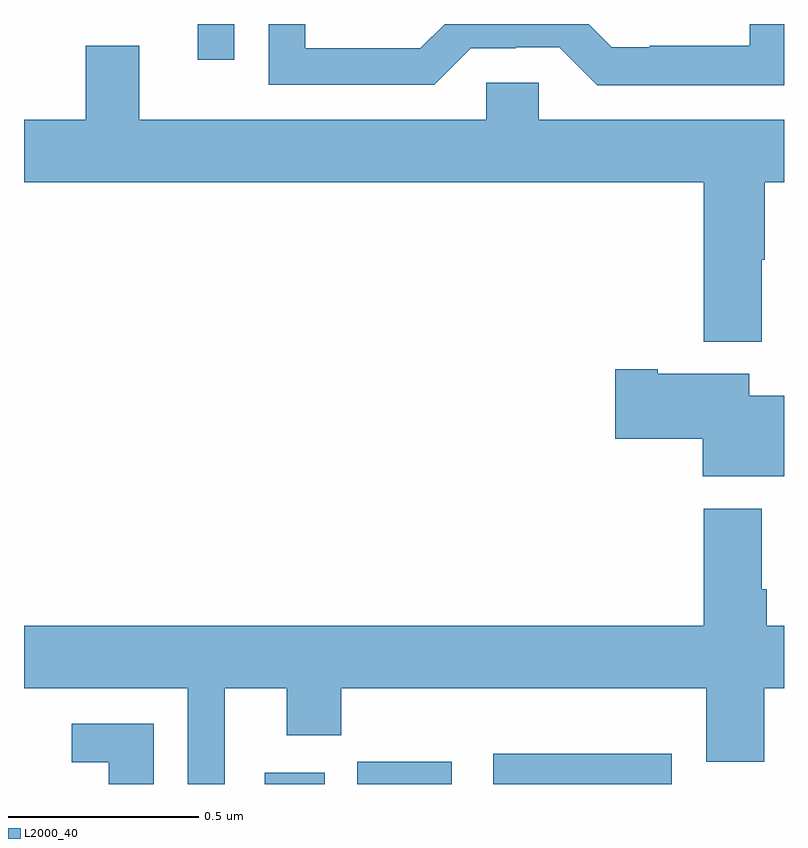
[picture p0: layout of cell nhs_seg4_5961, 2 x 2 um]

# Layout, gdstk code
import gdstk
lib = gdstk.Library(unit=1e-6, precision=1e-09)
def R(c, l, rs):  # rectangles x0, y0, x1, y1
    for r in rs: c.add(gdstk.rectangle(r[:2], r[2:], *l))
def P(c, l, *ps):  # polygons
    for p in ps: c.add(gdstk.Polygon(p, *l))
L2000_40 = (2000, 40)

nhs_seg4_5961 = lib.new_cell('nhs_seg4_5961')
R(nhs_seg4_5961, L2000_40, [(184.634,797.9,184.792,797.929), (184.877,797.9,185.125,797.958), (185.235,797.9,185.704,797.98), (184.457,799.806,184.553,799.9)])
P(nhs_seg4_5961, L2000_40, [(186,799.9),(185.91,799.9),(185.91,799.843),(185.647,799.843),(185.647,799.839),(185.547,799.839),(185.486,799.9),(185.107,799.9),(185.043,799.836),(184.74,799.836),(184.74,799.9),(184.644,799.9),(184.644,799.74),(185.079,799.74),(185.175,799.836),(185.294,799.836),(185.294,799.839),(185.409,799.839),(185.509,799.739),(186,799.739)],
  [(185.941,799.28),(185.949,799.28),(185.949,799.484),(186,799.484),(186,799.648),(185.355,799.648),(185.355,799.746),(185.217,799.746),(185.217,799.648),(184.303,799.648),(184.303,799.843),(184.163,799.843),(184.163,799.648),(184,799.648),(184,799.484),(185.789,799.484),(185.789,799.064),(185.941,799.064)],
  [(186,798.922),(185.908,798.922),(185.908,798.979),(185.668,798.979),(185.668,798.992),(185.556,798.992),(185.556,798.809),(185.786,798.809),(185.786,798.71),(186,798.71)],
  [(184.528,798.152),(184.691,798.152),(184.691,798.028),(184.835,798.028),(184.835,798.152),(185.795,798.152),(185.795,797.958),(185.948,797.958),(185.948,798.152),(186,798.152),(186,798.316),(185.954,798.316),(185.954,798.412),(185.941,798.412),(185.941,798.625),(185.789,798.625),(185.789,798.316),(184,798.316),(184,798.152),(184.431,798.152),(184.431,797.9),(184.528,797.9)],
  [(184.342,798.058),(184.125,798.058),(184.125,797.957),(184.223,797.957),(184.223,797.9),(184.342,797.9)])

lib.write_gds('nhs_seg4_5961.gds')
